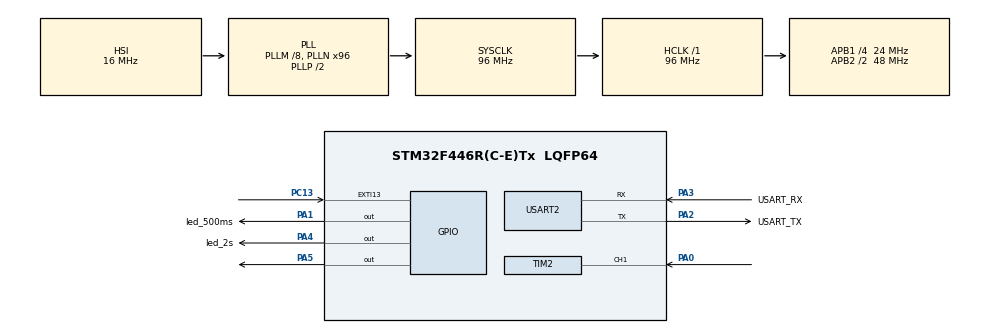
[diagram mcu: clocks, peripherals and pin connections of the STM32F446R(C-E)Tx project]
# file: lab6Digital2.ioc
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Mcu.Family=STM32F4
Mcu.Name=STM32F446R(C-E)Tx
Mcu.Package=LQFP64
NUCLEO-F446RE.BUTTON=1
NUCLEO-F446RE.LD1=true
NVIC.EXTI15_10_IRQn=true\:0\:0\:false\:false\:true\:false\:true\:true
NVIC.PriorityGroup=NVIC_PRIORITYGROUP_0
NVIC.TIM2_IRQn=true\:0\:0\:false\:false\:true\:true\:true\:true
NVIC.TIM3_IRQn=true\:0\:0\:false\:false\:true\:true\:true\:true
NVIC.TIM4_IRQn=true\:0\:0\:false\:false\:true\:true\:true\:true
NVIC.USART2_IRQn=true\:0\:0\:false\:false\:true\:true\:true\:true
PA0-WKUP.Signal=S_TIM2_CH1_ETR
PA1.GPIO_Label=led_500ms
PA1.Signal=GPIO_Output
PA13.GPIO_Label=TMS
PA13.Signal=SYS_JTMS-SWDIO
PA14.GPIO_Label=TCK
PA14.Signal=SYS_JTCK-SWCLK
PA2.GPIO_Label=USART_TX
PA2.Mode=Asynchronous
PA2.Signal=USART2_TX
PA3.GPIO_Label=USART_RX
PA3.Mode=Asynchronous
PA3.Signal=USART2_RX
PA4.GPIO_Label=led_2s
PA4.Signal=GPIO_Output
PA5.Signal=GPIO_Output
PB3.GPIO_Label=SWO
PB3.Signal=SYS_JTDO-SWO
PC13.Signal=GPXTI13
PC14-OSC32_IN.Signal=RCC_OSC32_IN
PC15-OSC32_OUT.Signal=RCC_OSC32_OUT
PH0-OSC_IN.Signal=RCC_OSC_IN
PH1-OSC_OUT.Signal=RCC_OSC_OUT
ProjectManager.HeapSize=0x200
ProjectManager.StackSize=0x400
ProjectManager.TargetToolchain=STM32CubeIDE
RCC.AHBFreq_Value=96000000
RCC.APB1CLKDivider=RCC_HCLK_DIV4
RCC.APB1Freq_Value=24000000
RCC.APB1TimFreq_Value=48000000
RCC.APB2CLKDivider=RCC_HCLK_DIV2
RCC.APB2Freq_Value=48000000
RCC.APB2TimFreq_Value=96000000
RCC.CortexFreq_Value=96000000
RCC.FLatency-AdvancedSettings=FLASH_LATENCY_3
RCC.HCLKFreq_Value=96000000
RCC.HSE_VALUE=8000000
RCC.HSI_VALUE=16000000
RCC.LSE_VALUE=32768
RCC.PLLM=8
RCC.PLLN=96
RCC.SYSCLKFreq_VALUE=96000000
RCC.SYSCLKSource=RCC_SYSCLKSOURCE_PLLCLK
RCC.USBFreq_Value=96000000
RCC.VCOOutputFreq_Value=192000000
SH.S_TIM2_CH1_ETR.0=TIM2_CH1,Input_Capture1_from_TI1
TIM2.AutoReloadPreload=TIM_AUTORELOAD_PRELOAD_ENABLE
TIM2.Channel-Input_Capture1_from_TI1=TIM_CHANNEL_1
TIM2.Prescaler=48-1
TIM3.Period=249
TIM3.Prescaler=47999
TIM4.Period=999
TIM4.Prescaler=47999
USART2.VirtualMode=VM_ASYNC
VP_NUCLEO-F446RE_VS_BSP_COMMON.Mode=COMMON
VP_TIM2_VS_ClockSourceINT.Mode=Internal
VP_TIM3_VS_ClockSourceINT.Mode=Internal
VP_TIM4_VS_ClockSourceINT.Mode=Internal
board=NUCLEO-F446RE

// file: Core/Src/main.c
/* USER CODE BEGIN Header */
/**
  ******************************************************************************
  * @file           : main.c
  * @brief          : Main program body
  ******************************************************************************
  * @attention
  *
  * Copyright (c) 2026 STMicroelectronics.
  * All rights reserved.
  *
  * This software is licensed under terms that can be found in the LICENSE file
  * in the root directory of this software component.
  * If no LICENSE file comes with this software, it is provided AS-IS.
  *
  ******************************************************************************
  */
/* USER CODE END Header */
#include "main.h"

/* USER CODE BEGIN Includes */
#include<stdio.h>
/* USER CODE END Includes */

/* USER CODE BEGIN PD */
#define ftimclk 1000000
/* USER CODE END PD */

TIM_HandleTypeDef htim2;
TIM_HandleTypeDef htim3;
TIM_HandleTypeDef htim4;

UART_HandleTypeDef huart2;

/* USER CODE BEGIN PV */
uint8_t flagMedicion = 0;
volatile uint8_t numFlanco = 0;
volatile uint16_t flanco1 = 0;
volatile uint16_t flanco2 = 0;

uint16_t delta = 0;
float frecuencia;
/* USER CODE END PV */

void SystemClock_Config(void);
static void MX_GPIO_Init(void);
static void MX_TIM2_Init(void);
static void MX_USART2_UART_Init(void);
static void MX_TIM3_Init(void);
static void MX_TIM4_Init(void);

int main(void)
{

  /* MCU Configuration--------------------------------------------------------*/

  /* Reset of all peripherals, Initializes the Flash interface and the Systick. */
  HAL_Init();

  /* Configure the system clock */
  SystemClock_Config();

  /* Initialize all configured peripherals */
  MX_GPIO_Init();
  MX_TIM2_Init();
  MX_USART2_UART_Init();
  MX_TIM3_Init();
  MX_TIM4_Init();

  /* USER CODE BEGIN 2 */
  HAL_TIM_Base_Start_IT(&htim3);
  HAL_TIM_Base_Start_IT(&htim4);

  /* USER CODE END 2 */

  /* Initialize leds */
  BSP_LED_Init(LED2);

  /* Initialize USER push-button, will be used to trigger an interrupt each time it's pressed.*/
  BSP_PB_Init(BUTTON_USER, BUTTON_MODE_EXTI);

  /* Infinite loop */
  /* USER CODE BEGIN WHILE */
  while (1)
  {
	  HAL_TIM_IC_Start_IT(&htim2, TIM_CHANNEL_1);

	  while (flagMedicion == 0) {
	  }
	  flagMedicion = 0;

	  if (flanco2 > flanco1){
		  delta = flanco2 - flanco1;
	  } else {
		  delta = (0xFFFFFFFF - flanco1) + flanco2;
	  }

	  frecuencia = (ftimclk / (float) delta);

	  int parteEntera = (int) frecuencia;
	  int parteDecimal = (int)((frecuencia - parteEntera) * 100); // 2 decimales

	  if (parteDecimal < 0) parteDecimal = -parteDecimal; // por si acaso hay negativos

	  char buffer[50];
	  int len = sprintf(buffer, "Frecuencia: %d.%02d Hz\r\n", parteEntera, parteDecimal);
	  HAL_UART_Transmit(&huart2, (uint8_t*)buffer, len, HAL_MAX_DELAY);
    /* USER CODE END WHILE */

  }
}

void SystemClock_Config(void)
{
  RCC_OscInitTypeDef RCC_OscInitStruct = {0};
  RCC_ClkInitTypeDef RCC_ClkInitStruct = {0};

  /** Configure the main internal regulator output voltage
  */
  __HAL_RCC_PWR_CLK_ENABLE();
  __HAL_PWR_VOLTAGESCALING_CONFIG(PWR_REGULATOR_VOLTAGE_SCALE3);

  /** Initializes the RCC Oscillators according to the specified parameters
  * in the RCC_OscInitTypeDef structure.
  */
  RCC_OscInitStruct.OscillatorType = RCC_OSCILLATORTYPE_HSI;
  RCC_OscInitStruct.HSIState = RCC_HSI_ON;
  RCC_OscInitStruct.HSICalibrationValue = RCC_HSICALIBRATION_DEFAULT;
  RCC_OscInitStruct.PLL.PLLState = RCC_PLL_ON;
  RCC_OscInitStruct.PLL.PLLSource = RCC_PLLSOURCE_HSI;
  RCC_OscInitStruct.PLL.PLLM = 8;
  RCC_OscInitStruct.PLL.PLLN = 96;
  RCC_OscInitStruct.PLL.PLLP = RCC_PLLP_DIV2;
  RCC_OscInitStruct.PLL.PLLQ = 2;
  RCC_OscInitStruct.PLL.PLLR = 2;
  if (HAL_RCC_OscConfig(&RCC_OscInitStruct) != HAL_OK)
  {
    Error_Handler();
  }

  /** Initializes the CPU, AHB and APB buses clocks
  */
  RCC_ClkInitStruct.ClockType = RCC_CLOCKTYPE_HCLK|RCC_CLOCKTYPE_SYSCLK
                              |RCC_CLOCKTYPE_PCLK1|RCC_CLOCKTYPE_PCLK2;
  RCC_ClkInitStruct.SYSCLKSource = RCC_SYSCLKSOURCE_PLLCLK;
  RCC_ClkInitStruct.AHBCLKDivider = RCC_SYSCLK_DIV1;
  RCC_ClkInitStruct.APB1CLKDivider = RCC_HCLK_DIV4;
  RCC_ClkInitStruct.APB2CLKDivider = RCC_HCLK_DIV2;

  if (HAL_RCC_ClockConfig(&RCC_ClkInitStruct, FLASH_LATENCY_3) != HAL_OK)
  {
    Error_Handler();
  }
}

static void MX_TIM2_Init(void)
{

  TIM_ClockConfigTypeDef sClockSourceConfig = {0};
  TIM_MasterConfigTypeDef sMasterConfig = {0};
  TIM_IC_InitTypeDef sConfigIC = {0};

  htim2.Instance = TIM2;
  htim2.Init.Prescaler = 48-1;
  htim2.Init.CounterMode = TIM_COUNTERMODE_UP;
  htim2.Init.Period = 4294967295;
  htim2.Init.ClockDivision = TIM_CLOCKDIVISION_DIV1;
  htim2.Init.AutoReloadPreload = TIM_AUTORELOAD_PRELOAD_ENABLE;
  if (HAL_TIM_Base_Init(&htim2) != HAL_OK)
  {
    Error_Handler();
  }
  sClockSourceConfig.ClockSource = TIM_CLOCKSOURCE_INTERNAL;
  if (HAL_TIM_ConfigClockSource(&htim2, &sClockSourceConfig) != HAL_OK)
  {
    Error_Handler();
  }
  if (HAL_TIM_IC_Init(&htim2) != HAL_OK)
  {
    Error_Handler();
  }
  sMasterConfig.MasterOutputTrigger = TIM_TRGO_RESET;
  sMasterConfig.MasterSlaveMode = TIM_MASTERSLAVEMODE_DISABLE;
  if (HAL_TIMEx_MasterConfigSynchronization(&htim2, &sMasterConfig) != HAL_OK)
  {
    Error_Handler();
  }
  sConfigIC.ICPolarity = TIM_INPUTCHANNELPOLARITY_RISING;
  sConfigIC.ICSelection = TIM_ICSELECTION_DIRECTTI;
  sConfigIC.ICPrescaler = TIM_ICPSC_DIV1;
  sConfigIC.ICFilter = 0;
  if (HAL_TIM_IC_ConfigChannel(&htim2, &sConfigIC, TIM_CHANNEL_1) != HAL_OK)
  {
    Error_Handler();
  }

}

static void MX_TIM3_Init(void)
{

  TIM_ClockConfigTypeDef sClockSourceConfig = {0};
  TIM_MasterConfigTypeDef sMasterConfig = {0};

  htim3.Instance = TIM3;
  htim3.Init.Prescaler = 47999;
  htim3.Init.CounterMode = TIM_COUNTERMODE_UP;
  htim3.Init.Period = 249;
  htim3.Init.ClockDivision = TIM_CLOCKDIVISION_DIV1;
  htim3.Init.AutoReloadPreload = TIM_AUTORELOAD_PRELOAD_DISABLE;
  if (HAL_TIM_Base_Init(&htim3) != HAL_OK)
  {
    Error_Handler();
  }
  sClockSourceConfig.ClockSource = TIM_CLOCKSOURCE_INTERNAL;
  if (HAL_TIM_ConfigClockSource(&htim3, &sClockSourceConfig) != HAL_OK)
  {
    Error_Handler();
  }
  sMasterConfig.MasterOutputTrigger = TIM_TRGO_RESET;
  sMasterConfig.MasterSlaveMode = TIM_MASTERSLAVEMODE_DISABLE;
  if (HAL_TIMEx_MasterConfigSynchronization(&htim3, &sMasterConfig) != HAL_OK)
  {
    Error_Handler();
  }

}

static void MX_TIM4_Init(void)
{

  TIM_ClockConfigTypeDef sClockSourceConfig = {0};
  TIM_MasterConfigTypeDef sMasterConfig = {0};

  htim4.Instance = TIM4;
  htim4.Init.Prescaler = 47999;
  htim4.Init.CounterMode = TIM_COUNTERMODE_UP;
  htim4.Init.Period = 999;
  htim4.Init.ClockDivision = TIM_CLOCKDIVISION_DIV1;
  htim4.Init.AutoReloadPreload = TIM_AUTORELOAD_PRELOAD_DISABLE;
  if (HAL_TIM_Base_Init(&htim4) != HAL_OK)
  {
    Error_Handler();
  }
  sClockSourceConfig.ClockSource = TIM_CLOCKSOURCE_INTERNAL;
  if (HAL_TIM_ConfigClockSource(&htim4, &sClockSourceConfig) != HAL_OK)
  {
    Error_Handler();
  }
  sMasterConfig.MasterOutputTrigger = TIM_TRGO_RESET;
  sMasterConfig.MasterSlaveMode = TIM_MASTERSLAVEMODE_DISABLE;
  if (HAL_TIMEx_MasterConfigSynchronization(&htim4, &sMasterConfig) != HAL_OK)
  {
    Error_Handler();
  }

}

static void MX_USART2_UART_Init(void)
{

  huart2.Instance = USART2;
  huart2.Init.BaudRate = 115200;
  huart2.Init.WordLength = UART_WORDLENGTH_8B;
  huart2.Init.StopBits = UART_STOPBITS_1;
  huart2.Init.Parity = UART_PARITY_NONE;
  huart2.Init.Mode = UART_MODE_TX_RX;
  huart2.Init.HwFlowCtl = UART_HWCONTROL_NONE;
  huart2.Init.OverSampling = UART_OVERSAMPLING_16;
  if (HAL_UART_Init(&huart2) != HAL_OK)
  {
    Error_Handler();
  }

}

static void MX_GPIO_Init(void)
{
  GPIO_InitTypeDef GPIO_InitStruct = {0};

  /* GPIO Ports Clock Enable */
  __HAL_RCC_GPIOC_CLK_ENABLE();
  __HAL_RCC_GPIOH_CLK_ENABLE();
  __HAL_RCC_GPIOA_CLK_ENABLE();
  __HAL_RCC_GPIOB_CLK_ENABLE();

  /*Configure GPIO pin Output Level */
  HAL_GPIO_WritePin(GPIOA, led_500ms_Pin|led_2s_Pin, GPIO_PIN_RESET);

  /*Configure GPIO pins : led_500ms_Pin led_2s_Pin */
  GPIO_InitStruct.Pin = led_500ms_Pin|led_2s_Pin;
  GPIO_InitStruct.Mode = GPIO_MODE_OUTPUT_PP;
  GPIO_InitStruct.Pull = GPIO_NOPULL;
  GPIO_InitStruct.Speed = GPIO_SPEED_FREQ_LOW;
  HAL_GPIO_Init(GPIOA, &GPIO_InitStruct);

}

/* USER CODE BEGIN 4 */
void HAL_TIM_IC_CaptureCallback(TIM_HandleTypeDef *htim) {

    if (numFlanco == 0) { // Se detecta el primer flanco
        flanco1 = HAL_TIM_ReadCapturedValue(&htim2, TIM_CHANNEL_1);
        numFlanco = 1;
    } else {
        flanco2 = HAL_TIM_ReadCapturedValue(&htim2, TIM_CHANNEL_1);
        HAL_TIM_IC_Stop(&htim2, TIM_CHANNEL_1); // Paramos la captura

        numFlanco = 0;
        flagMedicion = 1;
    }
}

void HAL_TIM_PeriodElapsedCallback(TIM_HandleTypeDef *htim)
{
  if (htim->Instance == TIM3)
  {
    HAL_GPIO_TogglePin(GPIOA, led_500ms_Pin);
  }
  else if (htim->Instance == TIM4)
  {
    HAL_GPIO_TogglePin(GPIOA, led_2s_Pin);
  }
}
/* USER CODE END 4 */

void Error_Handler(void)
{
  __disable_irq();
  while (1)
  {
  }
}
